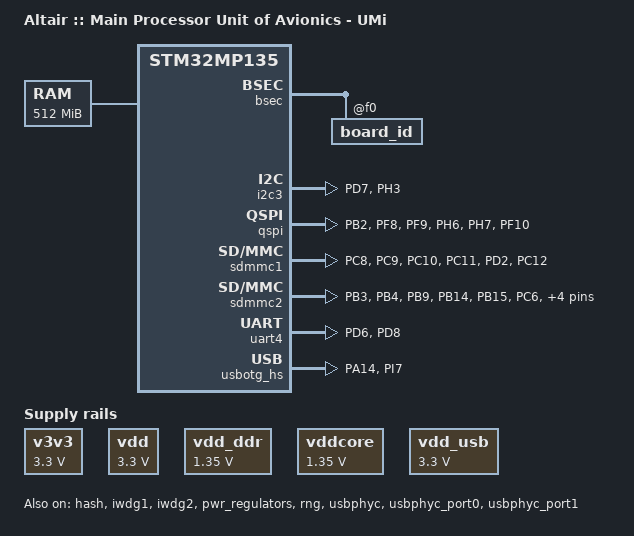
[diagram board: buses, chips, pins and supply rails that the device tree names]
// SPDX-License-Identifier: (GPL-2.0-or-later OR BSD-3-Clause)
/*
 * Copyright (C) 2024, STMicroelectronics - All Rights Reserved
 * Author: STM32CubeMX code generation for STMicroelectronics.
 */

/* For more information on Device Tree configuration, please refer to
 * https://wiki.st.com/stm32mpu/wiki/Category:Device_tree_configuration
 */

/dts-v1/;
#include <dt-bindings/pinctrl/stm32-pinfunc.h>
#include <dt-bindings/clock/stm32mp13-clksrc.h>
#include "stm32mp13-mx.dtsi"

#include "stm32mp135.dtsi"
#include "stm32mp13xd.dtsi"
#include "stm32mp13-pinctrl.dtsi"
#include "stm32mp13-ddr.dtsi"

/* USER CODE BEGIN includes */
/* USER CODE END includes */

/ {
	model = "Altair :: Main Processor Unit of Avionics - UMi";
	compatible = "st,stm32mp135d-altair-mx", "st,stm32mp135";

	memory@c0000000 {
		device_type = "memory";
		reg = <0xc0000000 0x20000000>;

		/* USER CODE BEGIN memory */
		/* USER CODE END memory */
	};

	/* USER CODE BEGIN root */
	aliases {
		serial0 = &uart4;
	};

	chosen {
		stdout-path = "serial0:115200n8";
	};

	v3v3: v3v3 {
		compatible = "regulator-fixed";
		regulator-name = "v3v3";
		regulator-min-microvolt = <3300000>;
		regulator-max-microvolt = <3300000>;
		regulator-always-on;
	};

	vdd: vdd {
		compatible = "regulator-fixed";
		regulator-name = "vdd";
		regulator-min-microvolt = <3300000>;
		regulator-max-microvolt = <3300000>;
	};

	vdd_ddr: vdd_ddr {
		compatible = "regulator-fixed";
		regulator-name = "vdd_ddr";
		regulator-min-microvolt = <1350000>;
		regulator-max-microvolt = <1350000>;
	};

	vddcore: vddcore {
		compatible = "regulator-fixed";
		regulator-name = "vddcore";
		regulator-min-microvolt = <1350000>;
		regulator-max-microvolt = <1350000>;
	};

	vdd_usb: vdd_usb {
		compatible = "regulator-fixed";
		regulator-name = "vdd_usb";
		regulator-min-microvolt = <3300000>;
		regulator-max-microvolt = <3300000>;
	};
	/* USER CODE END root */

	clocks {
		/* USER CODE BEGIN clocks */
		/* USER CODE END clocks */

		clk_hsi: clk-hsi {
			clock-frequency = <64000000>;

			/* USER CODE BEGIN clk_hsi */
			/* USER CODE END clk_hsi */
		};
		clk_lse: clk-lse {
			clock-frequency = <32768>;

			/* USER CODE BEGIN clk_lse */
			/* USER CODE END clk_lse */
		};
		clk_hse: clk-hse {
			clock-frequency = <24000000>;

			/* USER CODE BEGIN clk_hse */
			/* USER CODE END clk_hse */
		};
		clk_i2sin: clk-i2sin {
			status = "disabled";

			/* USER CODE BEGIN clk_i2sin */
			/* USER CODE END clk_i2sin */
		};
	};

}; /*root*/

&pinctrl {
	i2c3_pins_mx: i2c3_mx-0 {
		pins {
			pinmux = <STM32_PINMUX('D', 7, AF5)>, /* I2C3_SDA */
					 <STM32_PINMUX('H', 3, AF4)>; /* I2C3_SCL */
			bias-disable;
			drive-open-drain;
			slew-rate = <0>;
		};
	};

	quadspi_pins_mx: quadspi_mx-0 {
		pins1 {
			pinmux = <STM32_PINMUX('B', 2, AF9)>, /* QUADSPI_BK1_NCS */
					 <STM32_PINMUX('F', 8, AF10)>, /* QUADSPI_BK1_IO0 */
					 <STM32_PINMUX('F', 9, AF10)>, /* QUADSPI_BK1_IO1 */
					 <STM32_PINMUX('H', 6, AF9)>, /* QUADSPI_BK1_IO2 */
					 <STM32_PINMUX('H', 7, AF13)>; /* QUADSPI_BK1_IO3 */
			bias-disable;
			drive-push-pull;
			slew-rate = <1>;
		};
		pins2 {
			pinmux = <STM32_PINMUX('F', 10, AF9)>; /* QUADSPI_CLK */
			bias-disable;
			drive-push-pull;
			slew-rate = <2>;
		};
	};

	sdmmc1_pins_mx: sdmmc1_mx-0 {
		pins1 {
			pinmux = <STM32_PINMUX('C', 8, AF12)>, /* SDMMC1_D0 */
					 <STM32_PINMUX('C', 9, AF12)>, /* SDMMC1_D1 */
					 <STM32_PINMUX('C', 10, AF12)>, /* SDMMC1_D2 */
					 <STM32_PINMUX('C', 11, AF12)>, /* SDMMC1_D3 */
					 <STM32_PINMUX('D', 2, AF12)>; /* SDMMC1_CMD */
			bias-disable;
			drive-push-pull;
			slew-rate = <1>;
		};
		pins2 {
			pinmux = <STM32_PINMUX('C', 12, AF12)>; /* SDMMC1_CK */
			bias-disable;
			drive-push-pull;
			slew-rate = <3>;
		};
	};

	sdmmc2_pins_mx: sdmmc2_mx-0 {
		pins1 {
			pinmux = <STM32_PINMUX('B', 3, AF10)>, /* SDMMC2_D2 */
					 <STM32_PINMUX('B', 4, AF10)>, /* SDMMC2_D3 */
					 <STM32_PINMUX('B', 9, AF10)>, /* SDMMC2_D5 */
					 <STM32_PINMUX('B', 14, AF10)>, /* SDMMC2_D0 */
					 <STM32_PINMUX('B', 15, AF10)>, /* SDMMC2_D1 */
					 <STM32_PINMUX('C', 6, AF10)>, /* SDMMC2_D6 */
					 <STM32_PINMUX('C', 7, AF10)>, /* SDMMC2_D7 */
					 <STM32_PINMUX('F', 0, AF10)>, /* SDMMC2_D4 */
					 <STM32_PINMUX('G', 6, AF10)>; /* SDMMC2_CMD */
			bias-disable;
			drive-push-pull;
			slew-rate = <1>;
		};
		pins2 {
			pinmux = <STM32_PINMUX('E', 3, AF10)>; /* SDMMC2_CK */
			bias-disable;
			drive-push-pull;
			slew-rate = <3>;
		};
	};

	uart4_pins_mx: uart4_mx-0 {
		pins1 {
			pinmux = <STM32_PINMUX('D', 6, AF8)>; /* UART4_TX */
			bias-disable;
			drive-push-pull;
			slew-rate = <0>;
		};
		pins2 {
			pinmux = <STM32_PINMUX('D', 8, AF8)>; /* UART4_RX */
			bias-disable;
		};
	};

	usb_otg_hs_pins_mx: usb_otg_hs_mx-0 {
		pins1 {
			pinmux = <STM32_PINMUX('A', 14, AF10)>; /* USB_OTG_HS_SOF */
			bias-disable;
			drive-push-pull;
			slew-rate = <0>;
		};
		pins2 {
			pinmux = <STM32_PINMUX('I', 7, ANALOG)>; /* USB_OTG_HS_VBUS */
		};
	};

	/* USER CODE BEGIN pinctrl */
	/* USER CODE END pinctrl */
};

&bsec{
	status = "okay";

	/* USER CODE BEGIN bsec */
	board_id: board_id@f0 {
		reg = <0xf0 0x4>;
		st,non-secure-otp;
	};
	/* USER CODE END bsec */
};

&hash{
	status = "okay";

	/* USER CODE BEGIN hash */
	/* USER CODE END hash */
};

&i2c3{
	pinctrl-names = "default";
	pinctrl-0 = <&i2c3_pins_mx>;
	status = "okay";

	/* USER CODE BEGIN i2c3 */
	/* USER CODE END i2c3 */
};

&iwdg1{
	status = "okay";

	/* USER CODE BEGIN iwdg1 */
	/* USER CODE END iwdg1 */
};

&iwdg2{
	status = "okay";

	/* USER CODE BEGIN iwdg2 */
	/* USER CODE END iwdg2 */
};

&pwr_regulators{
	status = "okay";

	/* USER CODE BEGIN pwr_regulators */
	vdd-supply = <&vdd>;
	vdd_3v3_usbfs-supply = <&vdd_usb>;
	/* USER CODE END pwr_regulators */
};

&qspi{
	pinctrl-names = "default";
	pinctrl-0 = <&quadspi_pins_mx>;
	status = "okay";

	/* USER CODE BEGIN qspi */
	/* USER CODE END qspi */
};

&rcc{
	status = "okay";

	/* USER CODE BEGIN rcc */
	/* USER CODE END rcc */

	st,clksrc = <
		CLK_MPU_PLL1P
		CLK_AXI_PLL2P
		CLK_MLAHBS_PLL3
		CLK_CKPER_DISABLED
		CLK_QSPI_PLL3R
		CLK_SDMMC1_HSI
		CLK_SDMMC2_HSI
		CLK_STGEN_HSI
		CLK_USBO_PLL4R
		CLK_I2C3_PCLK6
		CLK_UART4_PCLK1
		CLK_RNG1_PLL4R
	>;
	st,clkdiv = <
		DIV(DIV_MPU, 1)
		DIV(DIV_AXI, 0)
		DIV(DIV_MLAHB, 0)
		DIV(DIV_APB1, 1)
		DIV(DIV_APB2, 1)
		DIV(DIV_APB3, 1)
		DIV(DIV_APB4, 1)
		DIV(DIV_APB5, 2)
		DIV(DIV_APB6, 1)
	>;
	st,pll_vco {
		pll1_vco_2000Mhz: pll1-vco-2000Mhz {
			src = < CLK_PLL12_HSI >;
			divmn = < 3 61 >;
			frac = < 0x1000 >;
		};
		pll2_vco_1066Mhz: pll2-vco-1066Mhz {
			src = < CLK_PLL12_HSI >;
			divmn = < 3 32 >;
			frac = < 0xa00 >;
		};
		pll3_vco_418Mhz: pll3-vco-418Mhz {
			src = < CLK_PLL3_HSI >;
			divmn = < 3 25 >;
			frac = < 0x400 >;
		};
		pll4_vco_400Mhz: pll4-vco-400Mhz {
			src = < CLK_PLL4_HSI >;
			divmn = < 3 24 >;
		};
		/* USER CODE BEGIN rcc_st-pll_vco */
		/* USER CODE END rcc_st-pll_vco */
	};

	pll1:st,pll@0 {
		compatible = "st,stm32mp1-pll";
		reg = <0>;

		st,pll = < &pll1_cfg1 >;

		pll1_cfg1: pll1_cfg1 {
			st,pll_vco = < &pll1_vco_2000Mhz >;
			st,pll_div_pqr = < 0 1 1 >;
		};
		/* USER CODE BEGIN pll1 */
		/* USER CODE END pll1 */
	};

	pll2:st,pll@1 {
		compatible = "st,stm32mp1-pll";
		reg = <1>;

		st,pll = < &pll2_cfg1 >;

		pll2_cfg1: pll2_cfg1 {
			st,pll_vco = < &pll2_vco_1066Mhz >;
			st,pll_div_pqr = < 1 0 0 >;
		};
		/* USER CODE BEGIN pll2 */
		/* USER CODE END pll2 */
	};

	pll3:st,pll@2 {
		compatible = "st,stm32mp1-pll";
		reg = <2>;

		st,pll = < &pll3_cfg1 >;

		pll3_cfg1: pll3_cfg1 {
			st,pll_vco = < &pll3_vco_418Mhz >;
			st,pll_div_pqr = < 1 1 1 >;
		};
		/* USER CODE BEGIN pll3 */
		/* USER CODE END pll3 */
	};

	pll4:st,pll@3 {
		compatible = "st,stm32mp1-pll";
		reg = <3>;

		st,pll = < &pll4_cfg1 >;

		pll4_cfg1: pll4_cfg1 {
			st,pll_vco = < &pll4_vco_400Mhz >;
			st,pll_div_pqr = < 3 0 3 >;
		};
		/* USER CODE BEGIN pll4 */
		/* USER CODE END pll4 */
	};

};

&rng{
	status = "okay";

	/* USER CODE BEGIN rng */
	/* USER CODE END rng */
};

&sdmmc1{
	pinctrl-names = "default";
	pinctrl-0 = <&sdmmc1_pins_mx>;
	status = "okay";

	/* USER CODE BEGIN sdmmc1 */
	/* USER CODE END sdmmc1 */
};

&sdmmc2{
	pinctrl-names = "default";
	pinctrl-0 = <&sdmmc2_pins_mx>;
	status = "okay";

	/* USER CODE BEGIN sdmmc2 */
	/* USER CODE END sdmmc2 */
};

&uart4{
	pinctrl-names = "default";
	pinctrl-0 = <&uart4_pins_mx>;
	status = "okay";

	/* USER CODE BEGIN uart4 */
	/* USER CODE END uart4 */
};

&usbotg_hs{
	pinctrl-names = "default";
	pinctrl-0 = <&usb_otg_hs_pins_mx>;
	status = "okay";

	/* USER CODE BEGIN usbotg_hs */
	/* USER CODE END usbotg_hs */
};

&usbphyc{
	status = "okay";

	/* USER CODE BEGIN usbphyc */
	/* USER CODE END usbphyc */
};

&usbphyc_port0{
	status = "okay";

	/* USER CODE BEGIN usbphyc_port0 */
	/* USER CODE END usbphyc_port0 */
};

&usbphyc_port1{
	status = "okay";

	/* USER CODE BEGIN usbphyc_port1 */
	/* USER CODE END usbphyc_port1 */
};

/* USER CODE BEGIN addons */
/* USER CODE END addons */

